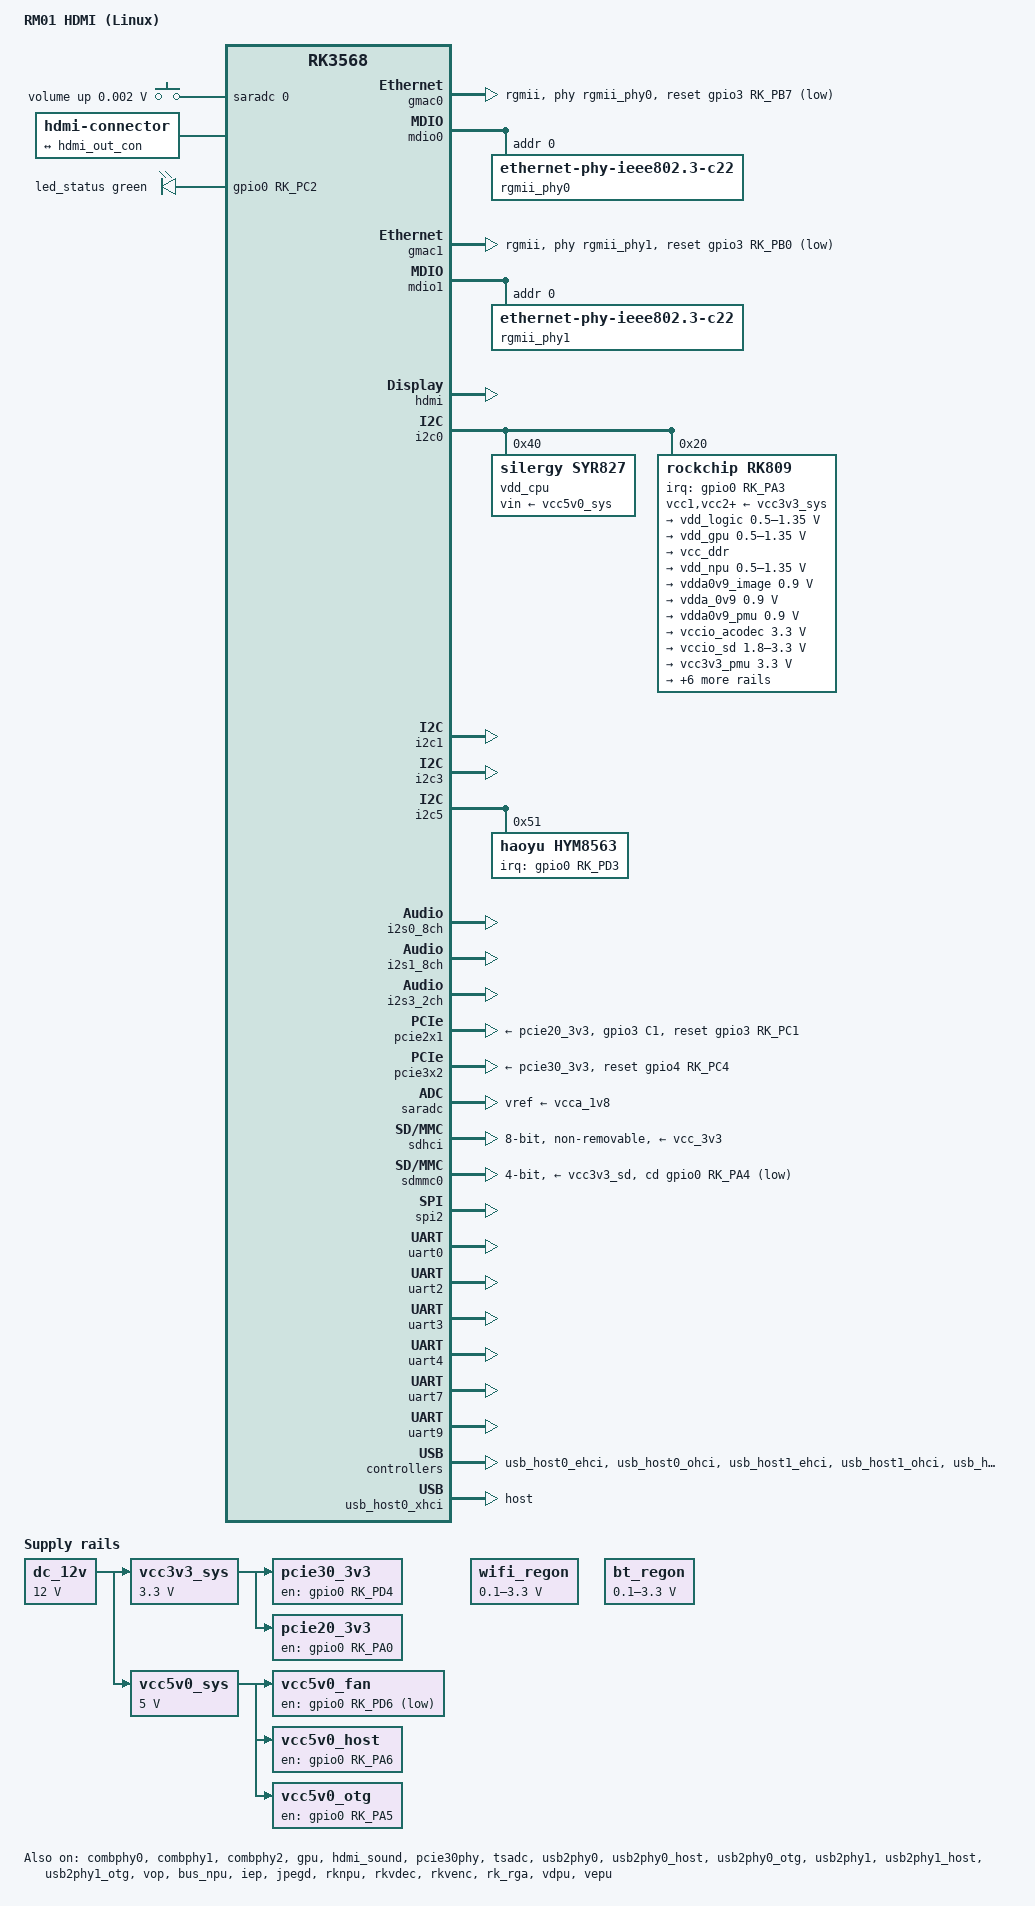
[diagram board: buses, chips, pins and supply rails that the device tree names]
// SPDX-License-Identifier: (GPL-2.0+ OR MIT)
/*
 * SZZN RK3568-JL-RM01 (RZW03) board device tree for the mainline 6.18.y
 * kernel (unifreq/linux-6.18.y, as used by ophub Armbian rebuilds).
 *
 * This is a hand-written port of the vendor 6.1 BSP board file
 * (rk3568-jl-rm01.dtsi).  BSP-only bindings that do not exist upstream
 * (rockchip_headset, wlan-platdata, pmu-io-domain BSP quirks, hdmi phy
 * table, mpp_srv userspace service) are intentionally omitted.
 */

/dts-v1/;

#include <dt-bindings/gpio/gpio.h>
#include <dt-bindings/input/linux-event-codes.h>
#include <dt-bindings/leds/common.h>
#include <dt-bindings/pinctrl/rockchip.h>
#include <dt-bindings/soc/rockchip,vop2.h>
#include "rk3568.dtsi"
#include "rk3568-ip.dtsi"

/ {
	model = "RM01 HDMI (Linux)";
	compatible = "rockchip,rk3568-rzw03", "rockchip,rk3568";

	aliases {
		ethernet0 = &gmac0;
		ethernet1 = &gmac1;
		mmc0 = &sdhci;
		mmc1 = &sdmmc0;
		mmc2 = &sdmmc2;
		serial0 = &uart0;
		serial2 = &uart2;
		serial3 = &uart3;
	};

	chosen {
		stdout-path = "serial2:1500000n8";
	};

	adc-keys {
		compatible = "adc-keys";
		io-channels = <&saradc 0>;
		io-channel-names = "buttons";
		keyup-threshold-microvolt = <1800000>;
		poll-interval = <100>;

		volume-up-key {
			label = "volume up";
			linux,code = <KEY_VOLUMEUP>;
			press-threshold-microvolt = <1750>;
		};
	};

	hdmi-con {
		compatible = "hdmi-connector";
		type = "a";

		port {
			hdmi_con_in: endpoint {
				remote-endpoint = <&hdmi_out_con>;
			};
		};
	};

	dc_12v: regulator-dc-12v {
		compatible = "regulator-fixed";
		regulator-name = "dc_12v";
		regulator-always-on;
		regulator-boot-on;
		regulator-min-microvolt = <12000000>;
		regulator-max-microvolt = <12000000>;
	};

	vcc3v3_sys: regulator-vcc3v3-sys {
		compatible = "regulator-fixed";
		regulator-name = "vcc3v3_sys";
		regulator-always-on;
		regulator-boot-on;
		regulator-min-microvolt = <3300000>;
		regulator-max-microvolt = <3300000>;
		vin-supply = <&dc_12v>;
	};

	vcc5v0_sys: regulator-vcc5v0-sys {
		compatible = "regulator-fixed";
		regulator-name = "vcc5v0_sys";
		regulator-always-on;
		regulator-boot-on;
		regulator-min-microvolt = <5000000>;
		regulator-max-microvolt = <5000000>;
		vin-supply = <&dc_12v>;
	};

	vcc5v0_fan: regulator-vcc5v0-fan {
		compatible = "regulator-fixed";
		regulator-name = "vcc5v0_fan";
		regulator-always-on;
		regulator-boot-on;
		gpio = <&gpio0 RK_PD6 GPIO_ACTIVE_HIGH>;
		pinctrl-names = "default";
		pinctrl-0 = <&vcc5v0_fan_en>;
		vin-supply = <&vcc5v0_sys>;
	};

	vcc5v0_host: regulator-vcc5v0-host {
		compatible = "regulator-fixed";
		enable-active-high;
		gpio = <&gpio0 RK_PA6 GPIO_ACTIVE_HIGH>;
		pinctrl-names = "default";
		pinctrl-0 = <&vcc5v0_host_en>;
		regulator-name = "vcc5v0_host";
		regulator-always-on;
		regulator-boot-on;
		vin-supply = <&vcc5v0_sys>;
	};

	vcc5v0_otg: regulator-vcc5v0-otg {
		compatible = "regulator-fixed";
		enable-active-high;
		gpio = <&gpio0 RK_PA5 GPIO_ACTIVE_HIGH>;
		pinctrl-names = "default";
		pinctrl-0 = <&vcc5v0_otg_en>;
		regulator-name = "vcc5v0_otg";
		vin-supply = <&vcc5v0_sys>;
	};

	pcie30_3v3: regulator-pcie30-3v3 {
		compatible = "regulator-fixed";
		regulator-name = "pcie30_3v3";
		regulator-boot-on;
		enable-active-high;
		gpios = <&gpio0 RK_PD4 GPIO_ACTIVE_HIGH>;
		pinctrl-names = "default";
		pinctrl-0 = <&pcie30_3v3_en>;
		vin-supply = <&vcc3v3_sys>;
	};

	pcie20_3v3: regulator-pcie20-3v3 {
		compatible = "regulator-fixed";
		regulator-name = "pcie20_3v3";
		regulator-boot-on;
		enable-active-high;
		gpios = <&gpio0 RK_PA0 GPIO_ACTIVE_HIGH>;
		pinctrl-names = "default";
		pinctrl-0 = <&pcie20_3v3_en>;
		vin-supply = <&vcc3v3_sys>;
	};

	wifi_regon: regulator-wifi-regon {
		compatible = "regulator-gpio";
		regulator-name = "wifi_regon";
		regulator-boot-on;
		regulator-min-microvolt = <100000>;
		regulator-max-microvolt = <3300000>;
		enable-active-high;
		gpios = <&gpio0 RK_PC5 GPIO_ACTIVE_HIGH>;
		gpios-states = <0x1>;
		states = <100000 0x0 3300000 0x1>;
	};

	bt_regon: regulator-bt-regon {
		compatible = "regulator-gpio";
		regulator-name = "bt_regon";
		regulator-boot-on;
		regulator-min-microvolt = <100000>;
		regulator-max-microvolt = <3300000>;
		enable-active-high;
		gpios = <&gpio0 RK_PC3 GPIO_ACTIVE_HIGH>;
		gpios-states = <0x1>;
		states = <100000 0x0 3300000 0x1>;
	};

	leds {
		compatible = "gpio-leds";

		led_status: led-0 {
			gpios = <&gpio0 RK_PC2 GPIO_ACTIVE_HIGH>;
			function = LED_FUNCTION_STATUS;
			color = <LED_COLOR_ID_GREEN>;
			linux,default-trigger = "heartbeat";
			pinctrl-names = "default";
			pinctrl-0 = <&leds_gpio>;
		};
	};

	rk809-sound {
		compatible = "simple-audio-card";
		simple-audio-card,format = "i2s";
		simple-audio-card,mclk-fs = <256>;
		simple-audio-card,name = "Analog RK809";

		simple-audio-card,cpu {
			sound-dai = <&i2s1_8ch>;
		};

		simple-audio-card,codec {
			sound-dai = <&rk809>;
		};
	};
};

&combphy0 {
	status = "okay";
};

&combphy1 {
	status = "okay";
};

&combphy2 {
	status = "okay";
};

&cpu0 {
	cpu-supply = <&vdd_cpu>;
};

&cpu1 {
	cpu-supply = <&vdd_cpu>;
};

&cpu2 {
	cpu-supply = <&vdd_cpu>;
};

&cpu3 {
	cpu-supply = <&vdd_cpu>;
};

&gmac0 {
	assigned-clocks = <&cru SCLK_GMAC0_RX_TX>, <&cru SCLK_GMAC0>;
	assigned-clock-parents = <&cru SCLK_GMAC0_RGMII_SPEED>;
	assigned-clock-rates = <0>, <125000000>;
	clock_in_out = "output";
	phy-handle = <&rgmii_phy0>;
	phy-mode = "rgmii";
	snps,reset-active-low;
	snps,reset-delays-us = <0 20000 100000>;
	snps,reset-gpio = <&gpio3 RK_PB7 GPIO_ACTIVE_LOW>;
	tx_delay = <0x3c>;
	rx_delay = <0x2f>;
	pinctrl-names = "default";
	pinctrl-0 = <&gmac0_miim
		     &gmac0_tx_bus2
		     &gmac0_rx_bus2
		     &gmac0_rgmii_clk
		     &gmac0_rgmii_bus>;
	status = "okay";
};

&mdio0 {
	rgmii_phy0: ethernet-phy@0 {
		compatible = "ethernet-phy-ieee802.3-c22";
		reg = <0x0>;
		motorcomm,led0-triggers = "link-1000", "activity";
		motorcomm,led1-triggers = "link-1000", "activity";
	};
};

&gmac1 {
	assigned-clocks = <&cru SCLK_GMAC1_RX_TX>, <&cru SCLK_GMAC1>;
	assigned-clock-parents = <&cru SCLK_GMAC1_RGMII_SPEED>;
	assigned-clock-rates = <0>, <125000000>;
	clock_in_out = "output";
	phy-handle = <&rgmii_phy1>;
	phy-mode = "rgmii";
	snps,reset-active-low;
	snps,reset-delays-us = <0 20000 100000>;
	snps,reset-gpio = <&gpio3 RK_PB0 GPIO_ACTIVE_LOW>;
	tx_delay = <0x4f>;
	rx_delay = <0x26>;
	pinctrl-names = "default";
	pinctrl-0 = <&gmac1m1_miim
		     &gmac1m1_tx_bus2
		     &gmac1m1_rx_bus2
		     &gmac1m1_rgmii_clk
		     &gmac1m1_rgmii_bus>;
	status = "okay";
};

&mdio1 {
	rgmii_phy1: ethernet-phy@0 {
		compatible = "ethernet-phy-ieee802.3-c22";
		reg = <0x0>;
		motorcomm,led0-triggers = "link-1000", "activity";
		motorcomm,led1-triggers = "link-1000", "activity";
	};
};

&gpu {
	mali-supply = <&vdd_gpu>;
	/delete-property/ operating-points-v2;
	status = "okay";
};

&hdmi {
	avdd-0v9-supply = <&vdda0v9_image>;
	avdd-1v8-supply = <&vcca1v8_image>;
	pinctrl-names = "default";
	pinctrl-0 = <&hdmitx_scl &hdmitx_sda &hdmitxm1_cec>;
	status = "okay";
};

&hdmi_in {
	hdmi_in_vp0: endpoint {
		remote-endpoint = <&vp0_out_hdmi>;
	};
};

&hdmi_out {
	hdmi_out_con: endpoint {
		remote-endpoint = <&hdmi_con_in>;
	};
};

&hdmi_sound {
	status = "okay";
};

&i2c0 {
	status = "okay";

	vdd_cpu: regulator@40 {
		compatible = "silergy,syr827";
		reg = <0x40>;
		vin-supply = <&vcc5v0_sys>;
		regulator-name = "vdd_cpu";
		regulator-min-microvolt = <712500>;
		regulator-max-microvolt = <1500000>;
		regulator-init-microvolt = <900000>;
		regulator-ramp-delay = <2300>;
		fcs,suspend-voltage-selector = <1>;
		regulator-boot-on;
		regulator-always-on;

		regulator-state-mem {
			regulator-off-in-suspend;
		};
	};

	rk809: pmic@20 {
		compatible = "rockchip,rk809";
		reg = <0x20>;
		interrupt-parent = <&gpio0>;
		interrupts = <RK_PA3 IRQ_TYPE_LEVEL_LOW>;
		assigned-clocks = <&cru I2S1_MCLKOUT_TX>;
		assigned-clock-parents = <&cru CLK_I2S1_8CH_TX>;
		#clock-cells = <1>;
		clock-names = "mclk";
		clocks = <&cru I2S1_MCLKOUT_TX>;
		pinctrl-names = "default";
		pinctrl-0 = <&pmic_int>, <&i2s1m0_mclk>;
		system-power-controller;
		wakeup-source;
		#sound-dai-cells = <0>;
		vcc1-supply = <&vcc3v3_sys>;
		vcc2-supply = <&vcc3v3_sys>;
		vcc3-supply = <&vcc3v3_sys>;
		vcc4-supply = <&vcc3v3_sys>;
		vcc5-supply = <&vcc3v3_sys>;
		vcc6-supply = <&vcc3v3_sys>;
		vcc7-supply = <&vcc3v3_sys>;
		vcc8-supply = <&vcc3v3_sys>;
		vcc9-supply = <&vcc3v3_sys>;

		regulators {
			vdd_logic: DCDC_REG1 {
				regulator-always-on;
				regulator-boot-on;
				regulator-min-microvolt = <500000>;
				regulator-max-microvolt = <1350000>;
				regulator-init-microvolt = <900000>;
				regulator-ramp-delay = <6001>;
				regulator-initial-mode = <0x2>;
				regulator-name = "vdd_logic";

				regulator-state-mem {
					regulator-off-in-suspend;
				};
			};

			vdd_gpu: DCDC_REG2 {
				regulator-always-on;
				regulator-boot-on;
				regulator-min-microvolt = <500000>;
				regulator-max-microvolt = <1350000>;
				regulator-init-microvolt = <900000>;
				regulator-ramp-delay = <6001>;
				regulator-initial-mode = <0x2>;
				regulator-name = "vdd_gpu";

				regulator-state-mem {
					regulator-off-in-suspend;
				};
			};

			vcc_ddr: DCDC_REG3 {
				regulator-always-on;
				regulator-boot-on;
				regulator-initial-mode = <0x2>;
				regulator-name = "vcc_ddr";

				regulator-state-mem {
					regulator-on-in-suspend;
				};
			};

			vdd_npu: DCDC_REG4 {
				regulator-always-on;
				regulator-boot-on;
				regulator-min-microvolt = <500000>;
				regulator-max-microvolt = <1350000>;
				regulator-init-microvolt = <900000>;
				regulator-ramp-delay = <6001>;
				regulator-initial-mode = <0x2>;
				regulator-name = "vdd_npu";

				regulator-state-mem {
					regulator-off-in-suspend;
				};
			};

			vdda0v9_image: LDO_REG1 {
				regulator-boot-on;
				regulator-always-on;
				regulator-min-microvolt = <900000>;
				regulator-max-microvolt = <900000>;
				regulator-name = "vdda0v9_image";

				regulator-state-mem {
					regulator-off-in-suspend;
				};
			};

			vdda_0v9: LDO_REG2 {
				regulator-always-on;
				regulator-boot-on;
				regulator-min-microvolt = <900000>;
				regulator-max-microvolt = <900000>;
				regulator-name = "vdda_0v9";

				regulator-state-mem {
					regulator-off-in-suspend;
				};
			};

			vdda0v9_pmu: LDO_REG3 {
				regulator-always-on;
				regulator-boot-on;
				regulator-min-microvolt = <900000>;
				regulator-max-microvolt = <900000>;
				regulator-name = "vdda0v9_pmu";

				regulator-state-mem {
					regulator-on-in-suspend;
					regulator-suspend-microvolt = <900000>;
				};
			};

			vccio_acodec: LDO_REG4 {
				regulator-always-on;
				regulator-boot-on;
				regulator-min-microvolt = <3300000>;
				regulator-max-microvolt = <3300000>;
				regulator-name = "vccio_acodec";

				regulator-state-mem {
					regulator-off-in-suspend;
				};
			};

			vccio_sd: LDO_REG5 {
				regulator-always-on;
				regulator-boot-on;
				regulator-min-microvolt = <1800000>;
				regulator-max-microvolt = <3300000>;
				regulator-name = "vccio_sd";

				regulator-state-mem {
					regulator-off-in-suspend;
				};
			};

			vcc3v3_pmu: LDO_REG6 {
				regulator-always-on;
				regulator-boot-on;
				regulator-min-microvolt = <3300000>;
				regulator-max-microvolt = <3300000>;
				regulator-name = "vcc3v3_pmu";

				regulator-state-mem {
					regulator-on-in-suspend;
					regulator-suspend-microvolt = <3300000>;
				};
			};

			vcca_1v8: LDO_REG7 {
				regulator-always-on;
				regulator-boot-on;
				regulator-min-microvolt = <1800000>;
				regulator-max-microvolt = <1800000>;
				regulator-name = "vcca_1v8";

				regulator-state-mem {
					regulator-off-in-suspend;
				};
			};

			vcca1v8_pmu: LDO_REG8 {
				regulator-always-on;
				regulator-boot-on;
				regulator-min-microvolt = <1800000>;
				regulator-max-microvolt = <1800000>;
				regulator-name = "vcca1v8_pmu";

				regulator-state-mem {
					regulator-on-in-suspend;
					regulator-suspend-microvolt = <1800000>;
				};
			};

			vcca1v8_image: LDO_REG9 {
				regulator-always-on;
				regulator-boot-on;
				regulator-min-microvolt = <1800000>;
				regulator-max-microvolt = <1800000>;
				regulator-name = "vcca1v8_image";

				regulator-state-mem {
					regulator-off-in-suspend;
				};
			};

			vcc_1v8: DCDC_REG5 {
				regulator-always-on;
				regulator-boot-on;
				regulator-min-microvolt = <1800000>;
				regulator-max-microvolt = <1800000>;
				regulator-name = "vcc_1v8";

				regulator-state-mem {
					regulator-off-in-suspend;
				};
			};

			vcc_3v3: SWITCH_REG1 {
				regulator-always-on;
				regulator-boot-on;
				regulator-name = "vcc_3v3";

				regulator-state-mem {
					regulator-off-in-suspend;
				};
			};

			vcc3v3_sd: SWITCH_REG2 {
				regulator-always-on;
				regulator-boot-on;
				regulator-name = "vcc3v3_sd";

				regulator-state-mem {
					regulator-off-in-suspend;
				};
			};
		};
	};
};

&i2c1 {
	status = "okay";
};

&i2c3 {
	status = "okay";
};

&i2c5 {
	status = "okay";

	hym8563: rtc@51 {
		compatible = "haoyu,hym8563";
		reg = <0x51>;
		interrupt-parent = <&gpio0>;
		interrupts = <RK_PD3 IRQ_TYPE_LEVEL_LOW>;
		#clock-cells = <0>;
		clock-output-names = "rtcic_32kout";
		pinctrl-names = "default";
		pinctrl-0 = <&hym8563_int>;
		wakeup-source;
	};
};

&i2s0_8ch {
	status = "okay";
};

&i2s1_8ch {
	pinctrl-names = "default";
	pinctrl-0 = <&i2s1m0_sclktx
		     &i2s1m0_lrcktx
		     &i2s1m0_sdi0
		     &i2s1m0_sdo0>;
	rockchip,trcm-sync-tx-only;
	status = "okay";
};

&i2s3_2ch {
	status = "okay";
};

&pcie2x1 {
	pinctrl-names = "default";
	pinctrl-0 = <&pcie20_reset_h>;
	reset-gpios = <&gpio3 RK_PC1 GPIO_ACTIVE_HIGH>;
	vpcie3v3-supply = <&pcie20_3v3>;
	status = "okay";
};

&pcie30phy {
	status = "okay";
};

&pcie3x2 {
	reset-gpios = <&gpio4 RK_PC4 GPIO_ACTIVE_HIGH>;
	vpcie3v3-supply = <&pcie30_3v3>;
	status = "okay";
};

&pmu_io_domains {
	pmuio1-supply = <&vcc3v3_pmu>;
	pmuio2-supply = <&vcc3v3_pmu>;
	vccio1-supply = <&vccio_acodec>;
	vccio3-supply = <&vccio_sd>;
	vccio4-supply = <&vcc_1v8>;
	vccio5-supply = <&vcc_3v3>;
	vccio6-supply = <&vcc_1v8>;
	vccio7-supply = <&vcc_3v3>;
	status = "okay";
};

&saradc {
	vref-supply = <&vcca_1v8>;
	status = "okay";
};

&sdhci {
	bus-width = <8>;
	max-frequency = <200000000>;
	no-sdio;
	no-sd;
	non-removable;
	pinctrl-names = "default";
	pinctrl-0 = <&emmc_bus8 &emmc_clk &emmc_cmd &emmc_datastrobe>;
	vmmc-supply = <&vcc_3v3>;
	vqmmc-supply = <&vcc_1v8>;
	status = "okay";
};

&sdmmc0 {
	bus-width = <4>;
	cap-sd-highspeed;
	cd-gpios = <&gpio0 RK_PA4 GPIO_ACTIVE_LOW>;
	disable-wp;
	max-frequency = <150000000>;
	pinctrl-names = "default";
	pinctrl-0 = <&sdmmc0_bus4 &sdmmc0_clk &sdmmc0_cmd &sdmmc0_det>;
	sd-uhs-sdr104;
	vmmc-supply = <&vcc3v3_sd>;
	vqmmc-supply = <&vccio_sd>;
	status = "okay";
};

&spi2 {
	status = "okay";
	pinctrl-names = "default";
	pinctrl-0 = <&spi2m1_cs0 &spi2m1_cs1 &spi2m1_pins>;
};

&tsadc {
	status = "okay";
};

&uart0 {
	status = "okay";
};

&uart2 {
	status = "okay";
};

&uart3 {
	status = "okay";
	pinctrl-names = "default";
	pinctrl-0 = <&uart3m1_xfer>;
};

&uart4 {
	status = "okay";
	pinctrl-names = "default";
	pinctrl-0 = <&uart4m1_xfer>;
};

&uart7 {
	status = "okay";
	pinctrl-names = "default";
	pinctrl-0 = <&uart7m1_xfer>;
};

&uart9 {
	status = "okay";
	pinctrl-names = "default";
	pinctrl-0 = <&uart9m1_xfer>;
};

&usb_host0_ehci {
	status = "okay";
};

&usb_host0_ohci {
	status = "okay";
};

&usb_host0_xhci {
	dr_mode = "host";
	status = "okay";
};

&usb_host1_ehci {
	status = "okay";
};

&usb_host1_ohci {
	status = "okay";
};

&usb_host1_xhci {
	status = "okay";
};

&usb2phy0 {
	status = "okay";
};

&usb2phy0_host {
	phy-supply = <&vcc5v0_host>;
	status = "okay";
};

&usb2phy0_otg {
	phy-supply = <&vcc5v0_otg>;
	status = "okay";
};

&usb2phy1 {
	status = "okay";
};

&usb2phy1_host {
	phy-supply = <&vcc5v0_host>;
	status = "okay";
};

&usb2phy1_otg {
	phy-supply = <&vcc5v0_host>;
	status = "okay";
};

&vop {
	assigned-clocks = <&cru DCLK_VOP0>, <&cru DCLK_VOP1>;
	assigned-clock-parents = <&pmucru PLL_HPLL>, <&cru PLL_VPLL>;
	status = "okay";
};

&vop_mmu {
	status = "okay";
};

&vp0 {
	vp0_out_hdmi: endpoint@ROCKCHIP_VOP2_EP_HDMI0 {
		reg = <ROCKCHIP_VOP2_EP_HDMI0>;
		remote-endpoint = <&hdmi_in_vp0>;
	};
};

&bus_npu {
	bus-supply = <&vdd_logic>;
	pvtm-supply = <&vdd_cpu>;
	status = "okay";
};

&iep {
	status = "okay";
};

&iep_mmu {
	status = "okay";
};

&jpegd {
	status = "okay";
};

&jpegd_mmu {
	status = "okay";
};

&rknpu {
	interrupt-names = "npu_irq";
	rknpu-supply = <&vdd_npu>;
	status = "okay";
};

&rknpu_mmu {
	status = "okay";
};

&rkvdec {
	status = "okay";
};

&rkvdec_mmu {
	status = "okay";
};

&rkvenc {
	venc-supply = <&vdd_logic>;
	status = "okay";
};

&rkvenc_mmu {
	status = "okay";
};

&rk_rga {
	status = "okay";
};

&vdpu {
	status = "okay";
};

&vdpu_mmu {
	status = "okay";
};

&vepu {
	status = "okay";
};

&vepu_mmu {
	status = "okay";
};

&pinctrl {
	fan {
		vcc5v0_fan_en: vcc5v0-fan-en {
			rockchip,pins = <0 RK_PD6 RK_FUNC_GPIO &pcfg_pull_none>;
		};
	};

	headphone {
		hp_det: hp-det {
			rockchip,pins = <3 RK_PC2 RK_FUNC_GPIO &pcfg_pull_down>;
		};
	};

	hym8563 {
		hym8563_int: hym8563-int {
			rockchip,pins = <0 RK_PD3 RK_FUNC_GPIO &pcfg_pull_up>;
		};
	};

	leds {
		leds_gpio: leds-gpio {
			rockchip,pins = <0 RK_PC2 RK_FUNC_GPIO &pcfg_pull_none>;
		};
	};

	pcie {
		pcie30_3v3_en: pcie30-3v3-en {
			rockchip,pins = <0 RK_PD4 RK_FUNC_GPIO &pcfg_pull_none>;
		};

		pcie20_3v3_en: pcie20-3v3-en {
			rockchip,pins = <0 RK_PA0 RK_FUNC_GPIO &pcfg_pull_none>;
		};

		pcie20_reset_h: pcie20-reset-h {
			rockchip,pins = <3 RK_PC1 RK_FUNC_GPIO &pcfg_pull_none>;
		};
	};

	pmic {
		pmic_int: pmic-int {
			rockchip,pins = <0 RK_PA3 RK_FUNC_GPIO &pcfg_pull_up>;
		};
	};

	usb {
		vcc5v0_host_en: vcc5v0-host-en {
			rockchip,pins = <0 RK_PA6 RK_FUNC_GPIO &pcfg_pull_none>;
		};

		vcc5v0_otg_en: vcc5v0-otg-en {
			rockchip,pins = <0 RK_PA5 RK_FUNC_GPIO &pcfg_pull_none>;
		};
	};
};
